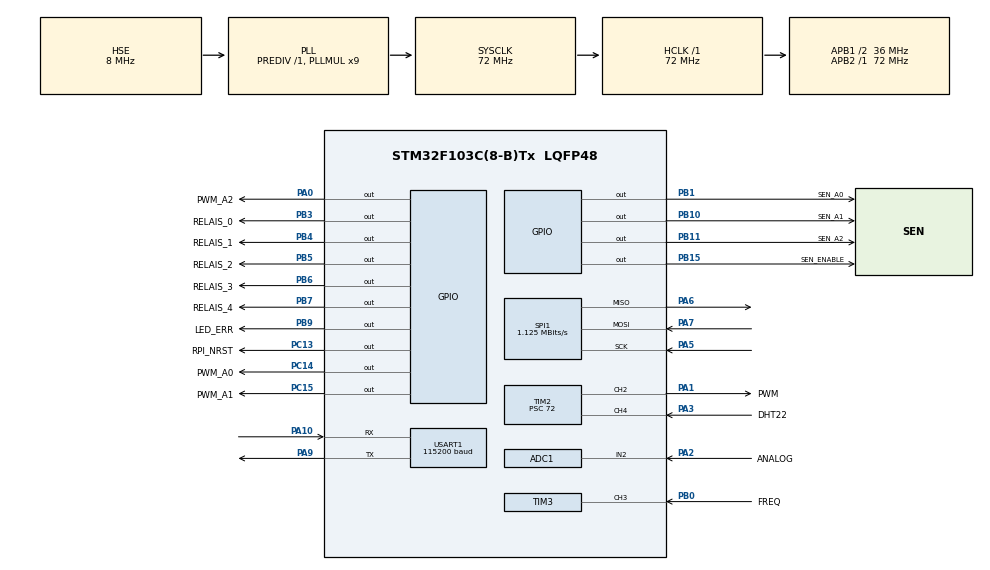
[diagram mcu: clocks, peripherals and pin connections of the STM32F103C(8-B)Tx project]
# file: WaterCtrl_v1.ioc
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ADC1.Channel-16\#ChannelInjectedConversion=ADC_CHANNEL_2
ADC1.ContinuousConvMode=DISABLE
ADC1.EnableRegularConversion=DISABLE
ADC1.ExternalTrigInjecConv=ADC_INJECTED_SOFTWARE_START
ADC1.InjNumberOfConversion=1
ADC1.InjectedConvMode=AutoInjected
ADC1.InjectedOffset-16\#ChannelInjectedConversion=0
ADC1.Rank-16\#ChannelInjectedConversion=1
ADC1.SamplingTime-16\#ChannelInjectedConversion=ADC_SAMPLETIME_1CYCLE_5
ADC1.master=1
FREERTOS.INCLUDE_vTaskDelayUntil=1
FREERTOS.Tasks01=defaultTask,-2,128,StartDefaultTask,Default
FREERTOS.configCHECK_FOR_STACK_OVERFLOW=1
FREERTOS.configMINIMAL_STACK_SIZE=64
FREERTOS.configTOTAL_HEAP_SIZE=0x2000
FREERTOS.configUSE_PREEMPTION=0
FREERTOS.configUSE_TRACE_FACILITY=0
IWDG.Prescaler=IWDG_PRESCALER_16
Mcu.Family=STM32F1
Mcu.Name=STM32F103C(8-B)Tx
Mcu.Package=LQFP48
NVIC.ADC1_2_IRQn=true\:0\:0\:false\:true\:true\:1\:false
NVIC.PriorityGroup=NVIC_PRIORITYGROUP_4
NVIC.SPI1_IRQn=true\:5\:0\:true\:false\:true\:true
NVIC.TIM1_UP_IRQn=true\:0\:0\:false\:false\:true\:false
NVIC.TIM2_IRQn=true\:2\:0\:true\:true\:true\:2\:false
NVIC.TIM3_IRQn=true\:6\:0\:true\:true\:true\:3\:false
NVIC.TimeBase=TIM1_UP_IRQn
NVIC.TimeBaseIP=TIM1
NVIC.USART1_IRQn=true\:10\:0\:true\:false\:true\:true
PA0-WKUP.GPIO_Label=PWM_A2
PA0-WKUP.GPIO_ModeDefaultOutputPP=GPIO_MODE_OUTPUT_PP
PA0-WKUP.GPIO_Speed=GPIO_SPEED_FREQ_LOW
PA0-WKUP.Signal=GPIO_Output
PA1.GPIO_Label=PWM
PA1.GPIO_ModeDefaultPP=GPIO_MODE_AF_PP
PA1.GPIO_Speed=GPIO_SPEED_FREQ_LOW
PA1.Signal=S_TIM2_CH2
PA10.Mode=Asynchronous
PA10.Signal=USART1_RX
PA13.Mode=Serial_Wire
PA13.Signal=SYS_JTMS-SWDIO
PA14.Mode=Serial_Wire
PA14.Signal=SYS_JTCK-SWCLK
PA2.GPIO_Label=ANALOG
PA2.Signal=ADCx_IN2
PA3.GPIO_Label=DHT22
PA3.GPIO_PuPd=GPIO_PULLUP
PA3.Signal=S_TIM2_CH4
PA5.Mode=Full_Duplex_Slave
PA5.Signal=SPI1_SCK
PA6.Mode=Full_Duplex_Slave
PA6.Signal=SPI1_MISO
PA7.Mode=Full_Duplex_Slave
PA7.Signal=SPI1_MOSI
PA9.Mode=Asynchronous
PA9.Signal=USART1_TX
PB0.GPIO_Label=FREQ
PB0.GPIO_Mode=GPIO_MODE_INPUT
PB0.GPIO_PuPd=GPIO_PULLUP
PB0.Signal=S_TIM3_CH3
PB1.GPIO_Label=SEN_A0
PB1.GPIO_ModeDefaultOutputPP=GPIO_MODE_OUTPUT_PP
PB1.GPIO_Speed=GPIO_SPEED_FREQ_LOW
PB1.Signal=GPIO_Output
PB10.GPIO_Label=SEN_A1
PB10.GPIO_ModeDefaultOutputPP=GPIO_MODE_OUTPUT_PP
PB10.GPIO_Speed=GPIO_SPEED_FREQ_LOW
PB10.Signal=GPIO_Output
PB11.GPIO_Label=SEN_A2
PB11.GPIO_ModeDefaultOutputPP=GPIO_MODE_OUTPUT_PP
PB11.GPIO_Speed=GPIO_SPEED_FREQ_LOW
PB11.Signal=GPIO_Output
PB15.GPIO_Label=SEN_ENABLE
PB15.GPIO_ModeDefaultOutputPP=GPIO_MODE_OUTPUT_PP
PB15.GPIO_Speed=GPIO_SPEED_FREQ_LOW
PB15.Signal=GPIO_Output
PB3.GPIO_Label=RELAIS_0
PB3.PinState=GPIO_PIN_SET
PB3.Signal=GPIO_Output
PB4.GPIO_Label=RELAIS_1
PB4.PinState=GPIO_PIN_SET
PB4.Signal=GPIO_Output
PB5.GPIO_Label=RELAIS_2
PB5.PinState=GPIO_PIN_SET
PB5.Signal=GPIO_Output
PB6.GPIO_Label=RELAIS_3
PB6.PinState=GPIO_PIN_SET
PB6.Signal=GPIO_Output
PB7.GPIO_Label=RELAIS_4
PB7.PinState=GPIO_PIN_SET
PB7.Signal=GPIO_Output
PB9.GPIO_Label=LED_ERR
PB9.GPIO_ModeDefaultOutputPP=GPIO_MODE_OUTPUT_PP
PB9.GPIO_Speed=GPIO_SPEED_FREQ_LOW
PB9.Signal=GPIO_Output
PC13-TAMPER-RTC.GPIO_Label=RPI_NRST
PC13-TAMPER-RTC.GPIO_ModeDefaultOutputPP=GPIO_MODE_OUTPUT_OD
PC13-TAMPER-RTC.GPIO_Speed=GPIO_SPEED_FREQ_LOW
PC13-TAMPER-RTC.Signal=GPIO_Output
PC14-OSC32_IN.GPIO_Label=PWM_A0
PC14-OSC32_IN.GPIO_ModeDefaultOutputPP=GPIO_MODE_OUTPUT_PP
PC14-OSC32_IN.GPIO_Speed=GPIO_SPEED_FREQ_LOW
PC14-OSC32_IN.Signal=GPIO_Output
PC15-OSC32_OUT.GPIO_Label=PWM_A1
PC15-OSC32_OUT.GPIO_ModeDefaultOutputPP=GPIO_MODE_OUTPUT_PP
PC15-OSC32_OUT.GPIO_Speed=GPIO_SPEED_FREQ_LOW
PC15-OSC32_OUT.Signal=GPIO_Output
PD0-OSC_IN.Mode=HSE-External-Oscillator
PD0-OSC_IN.Signal=RCC_OSC_IN
PD1-OSC_OUT.Mode=HSE-External-Oscillator
PD1-OSC_OUT.Signal=RCC_OSC_OUT
ProjectManager.HeapSize=0x2000
ProjectManager.StackSize=0x400
ProjectManager.TargetToolchain=SW4STM32
RCC.ADCPresc=RCC_ADCPCLK2_DIV6
RCC.AHBFreq_Value=72000000
RCC.APB1CLKDivider=RCC_HCLK_DIV2
RCC.APB1Freq_Value=36000000
RCC.APB1TimFreq_Value=72000000
RCC.APB2Freq_Value=72000000
RCC.APB2TimFreq_Value=72000000
RCC.HCLKFreq_Value=72000000
RCC.HSIState=RCC_HSI_ON
RCC.PLLMUL=RCC_PLL_MUL9
RCC.PLLSourceVirtual=RCC_PLLSOURCE_HSE
RCC.SYSCLKFreq_VALUE=72000000
RCC.SYSCLKSource=RCC_SYSCLKSOURCE_PLLCLK
RCC.USBFreq_Value=48000000
RCC.USBPrescaler=RCC_USBCLKSOURCE_PLL_DIV1_5
RCC.VDD_VALUE=3.3
SH.ADCx_IN2.0=ADC1_IN2,IN2
SH.S_TIM2_CH2.0=TIM2_CH2,PWM Generation2 CH2
SH.S_TIM2_CH4.0=TIM2_CH4,Input_Capture4_from_TI4
SH.S_TIM3_CH3.0=TIM3_CH3,Input_Capture3_from_TI3
SPI1.BaudRatePrescaler=SPI_BAUDRATEPRESCALER_64
SPI1.CalculateBaudRate=1.125 MBits/s
SPI1.VirtualType=VM_SLAVE
TIM2.Channel-Input_Capture4_from_TI4=TIM_CHANNEL_4
TIM2.Channel-PWM\ Generation2\ CH2=TIM_CHANNEL_2
TIM2.ClockDivision=TIM_CLOCKDIVISION_DIV1
TIM2.ICPolarity_CH4=TIM_INPUTCHANNELPOLARITY_FALLING
TIM2.Period=20000
TIM2.Prescaler=72
TIM2.Pulse-PWM\ Generation2\ CH2=0
TIM3.Channel-Input_Capture3_from_TI3=TIM_CHANNEL_3
TIM3.ClockDivision=TIM_CLOCKDIVISION_DIV1
TIM3.ICFilter_CH3=0x0
TIM3.ICPrescaler-Input_Capture3_from_TI3=TIM_ICPSC_DIV8
TIM3.Period=0xffff
TIM3.Prescaler=18
USART1.BaudRate=115200
VP_FREERTOS_VS_ENABLE.Mode=Enabled
VP_IWDG_VS_IWDG.Mode=IWDG_Activate
VP_SYS_VS_tim1.Mode=TIM1
VP_TIM2_VS_ClockSourceINT.Mode=Internal
board=WaterCtrl_v1

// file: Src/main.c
/**
  ******************************************************************************
  * File Name          : main.c
  * Description        : Main program body
  ******************************************************************************
  *
  * Copyright (c) 2017 STMicroelectronics International N.V.
  * All rights reserved.
  *
  * Redistribution and use in source and binary forms, with or without
  * modification, are permitted, provided that the following conditions are met:
  *
  * 1. Redistribution of source code must retain the above copyright notice,
  *    this list of conditions and the following disclaimer.
  * 2. Redistributions in binary form must reproduce the above copyright notice,
  *    this list of conditions and the following disclaimer in the documentation
  *    and/or other materials provided with the distribution.
  * 3. Neither the name of STMicroelectronics nor the names of other
  *    contributors to this software may be used to endorse or promote products
  *    derived from this software without specific written permission.
  * 4. This software, including modifications and/or derivative works of this
  *    software, must execute solely and exclusively on microcontroller or
  *    microprocessor devices manufactured by or for STMicroelectronics.
  * 5. Redistribution and use of this software other than as permitted under
  *    this license is void and will automatically terminate your rights under
  *    this license.
  *
  * THIS SOFTWARE IS PROVIDED BY STMICROELECTRONICS AND CONTRIBUTORS "AS IS"
  * AND ANY EXPRESS, IMPLIED OR STATUTORY WARRANTIES, INCLUDING, BUT NOT
  * LIMITED TO, THE IMPLIED WARRANTIES OF MERCHANTABILITY, FITNESS FOR A
  * PARTICULAR PURPOSE AND NON-INFRINGEMENT OF THIRD PARTY INTELLECTUAL PROPERTY
  * RIGHTS ARE DISCLAIMED TO THE FULLEST EXTENT PERMITTED BY LAW. IN NO EVENT
  * SHALL STMICROELECTRONICS OR CONTRIBUTORS BE LIABLE FOR ANY DIRECT, INDIRECT,
  * INCIDENTAL, SPECIAL, EXEMPLARY, OR CONSEQUENTIAL DAMAGES (INCLUDING, BUT NOT
  * LIMITED TO, PROCUREMENT OF SUBSTITUTE GOODS OR SERVICES; LOSS OF USE, DATA,
  * OR PROFITS; OR BUSINESS INTERRUPTION) HOWEVER CAUSED AND ON ANY THEORY OF
  * LIABILITY, WHETHER IN CONTRACT, STRICT LIABILITY, OR TORT (INCLUDING
  * NEGLIGENCE OR OTHERWISE) ARISING IN ANY WAY OUT OF THE USE OF THIS SOFTWARE,
  * EVEN IF ADVISED OF THE POSSIBILITY OF SUCH DAMAGE.
  *
  ******************************************************************************
  */
#include "main.h"
#include "stm32f1xx_hal.h"
#include "cmsis_os.h"
#include "adc.h"
#include "iwdg.h"
#include "spi.h"
#include "tim.h"
#include "usart.h"
#include "gpio.h"

/* USER CODE BEGIN Includes */
/** @addtogroup Main
  * @{
  */

/* ============ DEFINES ============== */
// GENERAL
#define VERSION (uint8_t)1

// TOOLCHAIN INCLUDES
#include <stdint.h>
#include <stdbool.h>

// APP INCLUDES
#include <main.h>
#include <dht22.h>
#include <stuff.h>
#include <scheduler.h>
#include <spicomm.h>
#include <moistureMeasure.h>
#include <motors.h>
#include <broker.h>

/* USER CODE END Includes */

/* USER CODE BEGIN PV */
/* Private variables ---------------------------------------------------------*/

/* USER CODE END PV */

void SystemClock_Config(void);
void Error_Handler(void);
void MX_FREERTOS_Init(void);
static void MX_NVIC_Init(void);

/* USER CODE BEGIN PFP */
/* Private function prototypes -----------------------------------------------*/
void SystemClock_Config(void);
void Error_Handler(void);
void MX_FREERTOS_Init(void);
static void MX_NVIC_Init(void);

extern void motor_TIM2_PeriodElapsedCallback(TIM_HandleTypeDef *htim);
extern void DHT22_InterruptHandler(TIM_HandleTypeDef* handle);
extern void moisture_TIM3_IC_CaptureCallback(TIM_HandleTypeDef *htim);
/* USER CODE END PFP */

int main(void)
{

  /* MCU Configuration----------------------------------------------------------*/

  /* Reset of all peripherals, Initializes the Flash interface and the Systick. */
  HAL_Init();

  /* Configure the system clock */
  SystemClock_Config();

  /* Initialize all configured peripherals */
  MX_GPIO_Init();
  MX_IWDG_Init();
  MX_SPI1_Init();
  MX_TIM2_Init();
  MX_TIM3_Init();
  MX_USART1_UART_Init();
  MX_ADC1_Init();

  /* Initialize interrupts */
  MX_NVIC_Init();

  /* Call init function for freertos objects (in freertos.c) */
  MX_FREERTOS_Init();

  /* Start scheduler */
  osKernelStart();

  /* We should never get here as control is now taken by the scheduler */

  /* Infinite loop */
  /* USER CODE BEGIN WHILE */

    while (true) {

    	osDelay(100);
    	HAL_GPIO_TogglePin(GPIOC,GPIO_PIN_13);

  /* USER CODE END WHILE */

    }

}

/** System Clock Configuration
*/
void SystemClock_Config(void)
{

  RCC_OscInitTypeDef RCC_OscInitStruct;
  RCC_ClkInitTypeDef RCC_ClkInitStruct;
  RCC_PeriphCLKInitTypeDef PeriphClkInit;

    /**Initializes the CPU, AHB and APB busses clocks
    */
  RCC_OscInitStruct.OscillatorType = RCC_OSCILLATORTYPE_LSI|RCC_OSCILLATORTYPE_HSE;
  RCC_OscInitStruct.HSEState = RCC_HSE_ON;
  RCC_OscInitStruct.HSEPredivValue = RCC_HSE_PREDIV_DIV1;
  RCC_OscInitStruct.HSIState = RCC_HSI_ON;
  RCC_OscInitStruct.LSIState = RCC_LSI_ON;
  RCC_OscInitStruct.PLL.PLLState = RCC_PLL_ON;
  RCC_OscInitStruct.PLL.PLLSource = RCC_PLLSOURCE_HSE;
  RCC_OscInitStruct.PLL.PLLMUL = RCC_PLL_MUL9;
  if (HAL_RCC_OscConfig(&RCC_OscInitStruct) != HAL_OK)
  {
    Error_Handler();
  }

    /**Initializes the CPU, AHB and APB busses clocks
    */
  RCC_ClkInitStruct.ClockType = RCC_CLOCKTYPE_HCLK|RCC_CLOCKTYPE_SYSCLK
                              |RCC_CLOCKTYPE_PCLK1|RCC_CLOCKTYPE_PCLK2;
  RCC_ClkInitStruct.SYSCLKSource = RCC_SYSCLKSOURCE_PLLCLK;
  RCC_ClkInitStruct.AHBCLKDivider = RCC_SYSCLK_DIV1;
  RCC_ClkInitStruct.APB1CLKDivider = RCC_HCLK_DIV2;
  RCC_ClkInitStruct.APB2CLKDivider = RCC_HCLK_DIV1;

  if (HAL_RCC_ClockConfig(&RCC_ClkInitStruct, FLASH_LATENCY_2) != HAL_OK)
  {
    Error_Handler();
  }

  PeriphClkInit.PeriphClockSelection = RCC_PERIPHCLK_ADC;
  PeriphClkInit.AdcClockSelection = RCC_ADCPCLK2_DIV6;
  if (HAL_RCCEx_PeriphCLKConfig(&PeriphClkInit) != HAL_OK)
  {
    Error_Handler();
  }

    /**Configure the Systick interrupt time
    */
  HAL_SYSTICK_Config(HAL_RCC_GetHCLKFreq()/1000);

    /**Configure the Systick
    */
  HAL_SYSTICK_CLKSourceConfig(SYSTICK_CLKSOURCE_HCLK);

  /* SysTick_IRQn interrupt configuration */
  HAL_NVIC_SetPriority(SysTick_IRQn, 15, 0);
}

/** NVIC Configuration
*/
static void MX_NVIC_Init(void)
{
  /* ADC1_2_IRQn interrupt configuration */
  HAL_NVIC_SetPriority(ADC1_2_IRQn, 0, 0);
  HAL_NVIC_EnableIRQ(ADC1_2_IRQn);
  /* TIM2_IRQn interrupt configuration */
  HAL_NVIC_SetPriority(TIM2_IRQn, 2, 0);
  HAL_NVIC_EnableIRQ(TIM2_IRQn);
  /* TIM3_IRQn interrupt configuration */
  HAL_NVIC_SetPriority(TIM3_IRQn, 6, 0);
  HAL_NVIC_EnableIRQ(TIM3_IRQn);
}

/* USER CODE BEGIN 4 */

/**
 * @brief  This function handles TIM1 Capture Compare interrupt request.
 */
void HAL_TIM_IC_CaptureCallback(TIM_HandleTypeDef *htim)
{
	if (TIM3 == htim->Instance)  {
		moisture_TIM3_IC_CaptureCallback(htim);
	}
	else if (TIM2 == htim->Instance)
	{
		DHT22_InterruptHandler(htim);
	}
}

/**
  * @}
  */
/* USER CODE END 4 */

void HAL_TIM_PeriodElapsedCallback(TIM_HandleTypeDef *htim)
{
  if (htim->Instance == TIM1) {
    HAL_IncTick();
  }
/* USER CODE BEGIN Callback 1 */
  else if (htim->Instance == TIM2) {
	  motor_TIM2_PeriodElapsedCallback(htim);
  } else {
	  D("error");
  }

/* USER CODE END Callback 1 */
}

void Error_Handler(void)
{
  while(1)
  {
  }
}

#ifdef USE_FULL_ASSERT

/**
   * @brief Reports the name of the source file and the source line number
   * where the assert_param error has occurred.
   * @param file: pointer to the source file name
   * @param line: assert_param error line source number
   * @retval None
   */
void assert_failed(uint8_t* file, uint32_t line)
{
  /* USER CODE BEGIN 6 */
    /* User can add his own implementation to report the file name and line
       number,
         ex: printf("Wrong parameters value: file %s on line %d\r\n", file,
       line)
       */
  /* USER CODE END 6 */

}

#endif

/************************ (C) COPYRIGHT STMicroelectronics *****END OF FILE****/

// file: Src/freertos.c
/**
  ******************************************************************************
  * File Name          : freertos.c
  * Description        : Code for freertos applications
  ******************************************************************************
  *
  * Copyright (c) 2017 STMicroelectronics International N.V.
  * All rights reserved.
  *
  * Redistribution and use in source and binary forms, with or without
  * modification, are permitted, provided that the following conditions are met:
  *
  * 1. Redistribution of source code must retain the above copyright notice,
  *    this list of conditions and the following disclaimer.
  * 2. Redistributions in binary form must reproduce the above copyright notice,
  *    this list of conditions and the following disclaimer in the documentation
  *    and/or other materials provided with the distribution.
  * 3. Neither the name of STMicroelectronics nor the names of other
  *    contributors to this software may be used to endorse or promote products
  *    derived from this software without specific written permission.
  * 4. This software, including modifications and/or derivative works of this
  *    software, must execute solely and exclusively on microcontroller or
  *    microprocessor devices manufactured by or for STMicroelectronics.
  * 5. Redistribution and use of this software other than as permitted under
  *    this license is void and will automatically terminate your rights under
  *    this license.
  *
  * THIS SOFTWARE IS PROVIDED BY STMICROELECTRONICS AND CONTRIBUTORS "AS IS"
  * AND ANY EXPRESS, IMPLIED OR STATUTORY WARRANTIES, INCLUDING, BUT NOT
  * LIMITED TO, THE IMPLIED WARRANTIES OF MERCHANTABILITY, FITNESS FOR A
  * PARTICULAR PURPOSE AND NON-INFRINGEMENT OF THIRD PARTY INTELLECTUAL PROPERTY
  * RIGHTS ARE DISCLAIMED TO THE FULLEST EXTENT PERMITTED BY LAW. IN NO EVENT
  * SHALL STMICROELECTRONICS OR CONTRIBUTORS BE LIABLE FOR ANY DIRECT, INDIRECT,
  * INCIDENTAL, SPECIAL, EXEMPLARY, OR CONSEQUENTIAL DAMAGES (INCLUDING, BUT NOT
  * LIMITED TO, PROCUREMENT OF SUBSTITUTE GOODS OR SERVICES; LOSS OF USE, DATA,
  * OR PROFITS; OR BUSINESS INTERRUPTION) HOWEVER CAUSED AND ON ANY THEORY OF
  * LIABILITY, WHETHER IN CONTRACT, STRICT LIABILITY, OR TORT (INCLUDING
  * NEGLIGENCE OR OTHERWISE) ARISING IN ANY WAY OUT OF THE USE OF THIS SOFTWARE,
  * EVEN IF ADVISED OF THE POSSIBILITY OF SUCH DAMAGE.
  *
  ******************************************************************************
  */

#include "FreeRTOS.h"
#include "task.h"
#include "cmsis_os.h"

/* USER CODE BEGIN Includes */

#include "adc.h"
#include "spicomm.h"
#include "motors.h"
#include "sensor.h"
#include "analog.h"
#include "moistureMeasure.h"
#include "relais.h"
#include "dht22.h"
#include "stuff.h"
#include "tim.h"
#include "main.h"

/* USER CODE END Includes */

osThreadId defaultTaskHandle;

/* USER CODE BEGIN Variables */

osThreadId AliveTickerHandle;
osThreadId WatchdogHandle;
osThreadId SpiBrokerHandle;
osThreadId MotorHandle;
osThreadId SensorHandle;

/* USER CODE END Variables */

void StartDefaultTask(void const * argument);

void MX_FREERTOS_Init(void); /* (MISRA C 2004 rule 8.1) */

/* Hook prototypes */
void vApplicationStackOverflowHook(xTaskHandle xTask, signed char *pcTaskName);

/* USER CODE BEGIN 4 */
void vApplicationStackOverflowHook(xTaskHandle xTask, signed char *pcTaskName)
{
	E("Stack overflow!");

	SpiBuffer buf;
	buf.d[0] = SPI_ID_ERROR;
	buf.d[1] = ERROR_STACKOVERFLOW;
	SpiSend(&buf);

	/* Run time stack overflow checking is performed if
   configCHECK_FOR_STACK_OVERFLOW is defined to 1 or 2. This hook function is
   called if a stack overflow is detected. */
}
/* USER CODE END 4 */

/* Init FreeRTOS */

void MX_FREERTOS_Init(void) {
  /* USER CODE BEGIN Init */
	// nice greetings
	printf_("\r\n\r\nWaterCtrl version v%u.%u [%s]\r\n", VER_MAJOR, VER_MINOR, __DATE__);
	printf_("System clock: %dMHz\r\n", (uint8_t)(SystemCoreClock / 1000000));
	printf_(":: Booting system ...\r\n");

	// setup SPI
	initSpi();
	initMoistureMeasure(&htim3);
	DHT22_Init(&htim2);
	initMotorControl(&htim2);
	InitSensors();
	initAnalogMeasurement(&hadc1);
	InitRelais();

  /* USER CODE END Init */

  /* Create the thread(s) */
  /* definition and creation of defaultTask */
  osThreadDef(defaultTask, StartDefaultTask, osPriorityLow, 0, 128);
  defaultTaskHandle = osThreadCreate(osThread(defaultTask), NULL);

  /* USER CODE BEGIN RTOS_THREADS */

	osThreadDef(Sensor, procSensor, osPriorityNormal, 1, 128);
	SensorHandle = osThreadCreate(osThread(Sensor), NULL);

#ifdef USEWATCHDOG
	osThreadDef(Watchdog, procWatchdog, osPriorityAboveNormal, 0, 64);
	WatchdogHandle = osThreadCreate(osThread(Watchdog), NULL);
#endif

	//osThreadDef(AliveTicker, procAliveTicker, osPriorityAboveNormal, 0, 64);
	//AliveTickerHandle = osThreadCreate(osThread(AliveTicker), NULL);

	osThreadDef(SpiBroker, procSpiBroker, osPriorityLow, 1, 128);
	SpiBrokerHandle = osThreadCreate(osThread(SpiBroker), NULL);

	osThreadDef(Motor, procMotor, osPriorityHigh, 1, 128);
	MotorHandle = osThreadCreate(osThread(Motor), NULL);

  /* USER CODE END RTOS_THREADS */

  /* USER CODE BEGIN RTOS_QUEUES */

	printf_(":: Starting threads ...\r\n");

  /* USER CODE END RTOS_QUEUES */
}

/* StartDefaultTask function */
void StartDefaultTask(void const * argument)
{

  /* USER CODE BEGIN StartDefaultTask */
	uint32_t counter = 0;
	// this is a auto generated dummy, so suspend it
	//osThreadSuspend(NULL);
	/* Infinite loop */

	for(;;)
	{
		//SpiBuffer buf;
		//buf.d[0] = SPI_ID_MESSAGE;
		//buf.d[1] = MESSAGE_PING;
#if 0
		int16_t temp = getDHT22_Temperature(1);
		D("frq: %d",temp);

		int16_t value = getAnalogValue(2,0);
		//D("Analaog 1: %d",value);
		//value = getAnalogValue(2,0);
		D("Analaog 2: %d",value);
		value = getAnalogValue(3,0);
		D("Analaog 3: %d",value);
//		value = getAnalogValue(4,0);
//		D("Analaog 4: %d",value);
		value = getSensorFrequency(4)/(uint16_t)1000;
		D("FRequenz: %d khz",value);
#endif
		osDelay(1000);
#if (0)
		MotorCmd* cmd = (MotorCmd*)osPoolAlloc(motorCtrlPool);
		cmd->motor = 1;
		cmd->time = 2;
		cmd->speed = 100;
		osMessagePut(motorCtrlQueue, (uint32_t)cmd, 0);
		osPoolFree(motorCtrlPool,cmd);
#endif
		//	stSensorCmd *sens_cmd = (stSensorCmd*)osPoolAlloc(sensorPool);
		//	sens_cmd->sensor = 3;
		//	osMessagePut(sensorQueue,(uint32_t)sens_cmd,0);
		//	osPoolFree(sensorPool,sens_cmd);

		HAL_GPIO_TogglePin(LED_ERR_GPIO_Port,LED_ERR_Pin);
		counter++;
		//	D("Default task: %d",counter);

	}
  /* USER CODE END StartDefaultTask */
}

/************************ (C) COPYRIGHT STMicroelectronics *****END OF FILE****/
